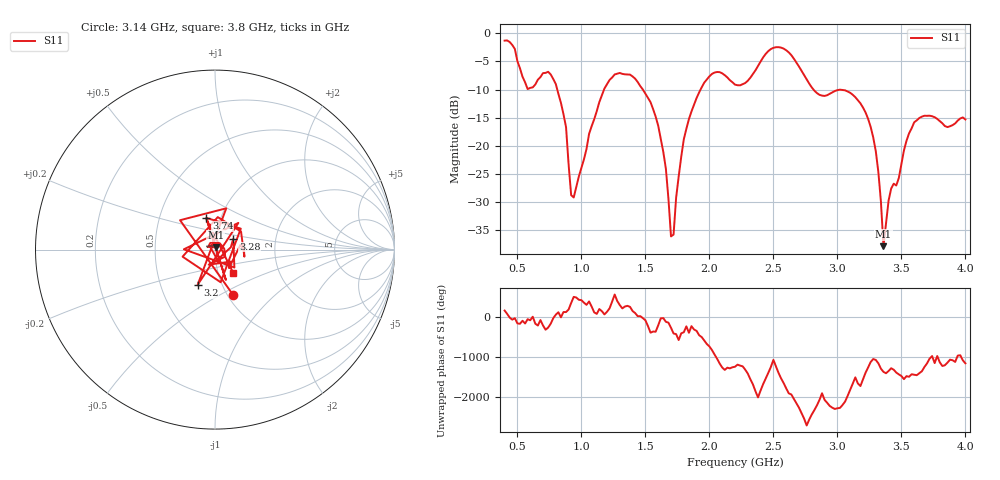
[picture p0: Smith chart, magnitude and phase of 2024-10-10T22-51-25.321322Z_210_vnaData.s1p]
! Created with skrf (http://scikit-rf.org).
# Hz S RI R 50.0
!freq ReS11 ImS11
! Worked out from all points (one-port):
!   181 points, 400 MHz to 4 GHz, reference 50 ohm
!   lowest |S11| = -37.9 dB at 3.36 GHz (marker M1), VSWR 1.03, Z = 50.4 + j1.21 ohm
!   |S11| at or under -10 dB: 811.3 MHz to 1.177 GHz (365.4 MHz wide, 36.8 % of centre); 1.48 GHz to 1.931 GHz (450.6 MHz wide, 26.4 % of centre); 2.813 GHz to end of sweep
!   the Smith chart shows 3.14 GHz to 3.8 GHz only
!   S11 on the Smith chart (normalised r, x): 3.14 GHz: 1.06, -0.58; 3.2 GHz: 0.77, -0.32; 3.28 GHz: 1.22, +0.15; 3.74 GHz: 0.86, +0.31; 3.8 GHz: 1.18, -0.32
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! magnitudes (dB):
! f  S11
! 400 MHz  -1.3
! 580 MHz  -9.9
! 760 MHz  -7.3
! 860 MHz  -14.4
! 940 MHz  -29.2
! 1.16 GHz  -11.0
! 1.3 GHz  -7.0
! 1.58 GHz  -14.8
! 1.66 GHz  -24.1
! 1.7 GHz  -36.1
! 1.76 GHz  -25.5
! 1.84 GHz  -15.3
! 1.96 GHz  -8.8
! 2.2 GHz  -9.1
! 2.5 GHz  -2.6
! 2.66 GHz  -4.5
! 2.86 GHz  -10.9
! 3.1 GHz  -10.6
! 3.14 GHz  -11.4
! 3.2 GHz  -13.2
! 3.28 GHz  -18.5
! 3.32 GHz  -24.7
! 3.36 GHz  -37.9
! 3.42 GHz  -27.6
! 3.56 GHz  -17.8
! 3.74 GHz  -14.7
! 3.8 GHz  -15.6
! 4 GHz  -15.3
